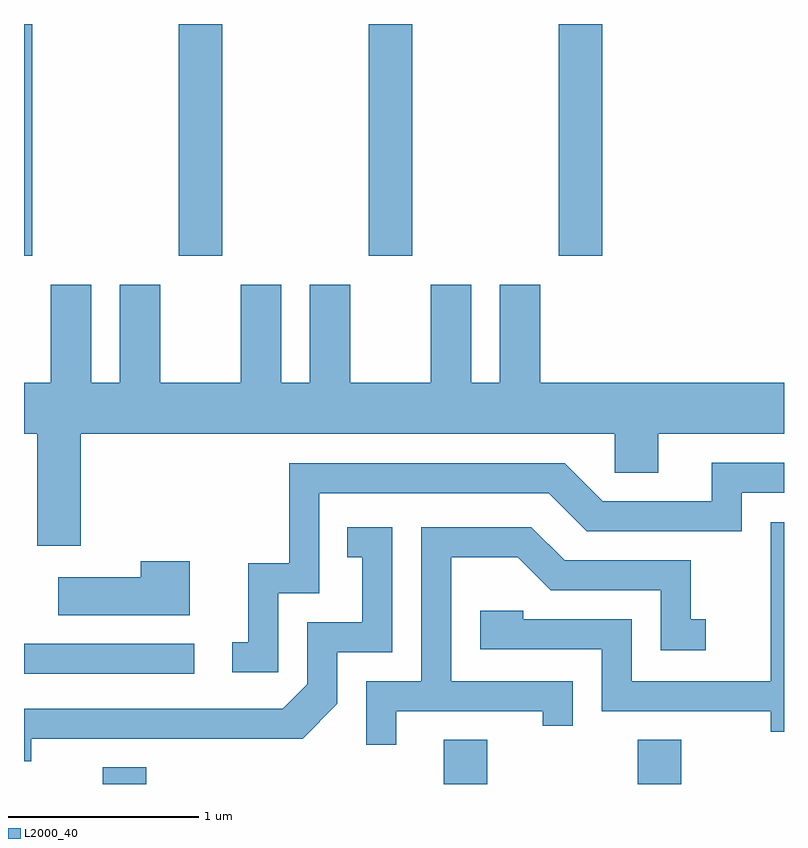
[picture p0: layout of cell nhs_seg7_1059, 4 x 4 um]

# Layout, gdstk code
import gdstk
lib = gdstk.Library(unit=1e-6, precision=1e-09)
def R(c, l, rs):  # rectangles x0, y0, x1, y1
    for r in rs: c.add(gdstk.rectangle(r[:2], r[2:], *l))
def A(c, l, x, y, w, h, nx, ny, dx, dy):  # array of equal rectangles
    R(c, l, [(x+i*dx, y+j*dy, x+i*dx+w, y+j*dy+h) for i in range(nx) for j in range(ny)])
def P(c, l, *ps):  # polygons
    for p in ps: c.add(gdstk.Polygon(p, *l))
L2000_40 = (2000, 40)

nhs_seg7_1059 = lib.new_cell('nhs_seg7_1059')
A(nhs_seg7_1059, L2000_40, 218.426, 1713.031, 0.228, 1.221, 3, 1, 1, 0)
R(nhs_seg7_1059, L2000_40, [(218.026,1710.252,218.254,1710.339), (219.821,1710.252,220.049,1710.484), (220.841,1710.252,221.069,1710.484), (217.611,1710.831,218.508,1710.989), (217.611,1713.031,217.654,1714.252)])
P(nhs_seg7_1059, L2000_40, [(217.909,1712.096),(220.721,1712.096),(220.721,1711.891),(220.949,1711.891),(220.949,1712.096),(221.611,1712.096),(221.611,1712.364),(220.329,1712.364),(220.329,1712.879),(220.116,1712.879),(220.116,1712.364),(219.964,1712.364),(219.964,1712.879),(219.751,1712.879),(219.751,1712.364),(219.329,1712.364),(219.329,1712.879),(219.116,1712.879),(219.116,1712.364),(218.964,1712.364),(218.964,1712.879),(218.751,1712.879),(218.751,1712.364),(218.329,1712.364),(218.329,1712.879),(218.116,1712.879),(218.116,1712.364),(217.964,1712.364),(217.964,1712.879),(217.751,1712.879),(217.751,1712.364),(217.611,1712.364),(217.611,1712.096),(217.681,1712.096),(217.681,1711.506),(217.909,1711.506)],
  [(218.949,1711.256),(219.164,1711.256),(219.164,1711.781),(220.374,1711.781),(220.574,1711.581),(221.389,1711.581),(221.389,1711.786),(221.611,1711.786),(221.611,1711.944),(221.231,1711.944),(221.231,1711.739),(220.657,1711.739),(220.457,1711.939),(219.006,1711.939),(219.006,1711.414),(218.791,1711.414),(218.791,1710.999),(218.708,1710.999),(218.708,1710.841),(218.949,1710.841)],
  [(221.611,1711.629),(221.541,1711.629),(221.541,1710.794),(220.809,1710.794),(220.809,1711.119),(220.239,1711.119),(220.239,1711.164),(220.011,1711.164),(220.011,1710.961),(220.651,1710.961),(220.651,1710.636),(221.541,1710.636),(221.541,1710.526),(221.611,1710.526)],
  [(219.569,1710.636),(220.341,1710.636),(220.341,1710.558),(220.499,1710.558),(220.499,1710.794),(219.859,1710.794),(219.859,1711.446),(220.209,1711.446),(220.384,1711.271),(220.961,1711.271),(220.961,1710.956),(221.198,1710.956),(221.198,1711.119),(221.119,1711.119),(221.119,1711.429),(220.457,1711.429),(220.282,1711.604),(219.701,1711.604),(219.701,1710.794),(219.411,1710.794),(219.411,1710.458),(219.569,1710.458)],
  [(217.649,1710.491),(219.077,1710.491),(219.259,1710.674),(219.259,1710.946),(219.549,1710.946),(219.549,1711.604),(219.313,1711.604),(219.313,1711.446),(219.391,1711.446),(219.391,1711.104),(219.101,1711.104),(219.101,1710.777),(218.974,1710.649),(217.611,1710.649),(217.611,1710.371),(217.649,1710.371)],
  [(218.484,1711.424),(218.226,1711.424),(218.226,1711.339),(217.791,1711.339),(217.791,1711.141),(218.484,1711.141)])

lib.write_gds('nhs_seg7_1059.gds')
